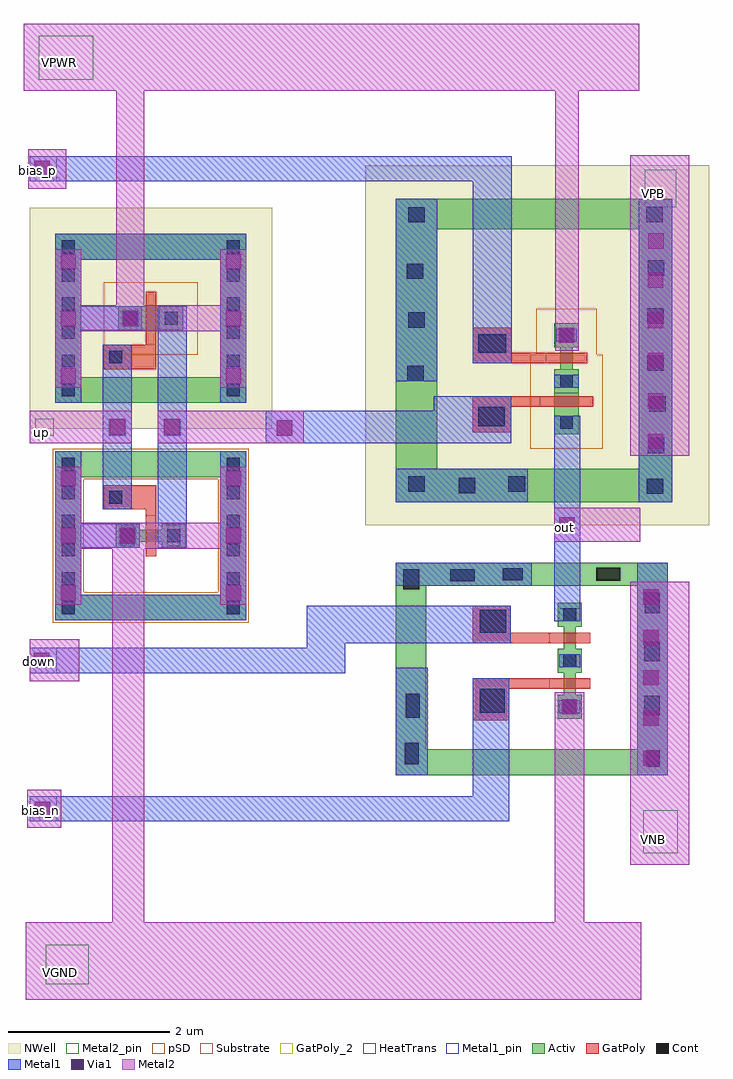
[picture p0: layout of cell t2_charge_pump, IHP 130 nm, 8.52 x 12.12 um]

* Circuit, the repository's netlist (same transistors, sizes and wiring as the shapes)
* Extracted by KLayout with SG13G2 LVS runset on : 13/06/2025 12:40

.SUBCKT t2_charge_pump
X$3 8 5 3 t2_inverter
M$1 5 1 10 5 sg13_lv_nmos L=0.13u W=0.15u AS=0.1005p AD=0.0555p PS=1.34u
+ PD=0.74u
M$2 10 2 7 5 sg13_lv_nmos L=0.13u W=0.15u AS=0.0555p AD=0.1005p PS=0.74u
+ PD=1.34u
M$3 7 3 9 6 sg13_lv_pmos L=0.13u W=0.3u AS=0.102p AD=0.05625p PS=1.28u PD=0.71u
M$4 9 4 8 6 sg13_lv_pmos L=0.13u W=0.15u AS=0.05625p AD=0.1005p PS=0.71u
+ PD=1.34u
.ENDS t2_charge_pump

.SUBCKT t2_inverter 1 2 4
M$1 1 3 4 1 sg13_lv_pmos L=0.13u W=0.3u AS=0.102p AD=0.102p PS=1.28u PD=1.28u
M$2 2 3 4 2 sg13_lv_nmos L=0.13u W=0.15u AS=0.1005p AD=0.1005p PS=1.34u PD=1.34u
.ENDS t2_inverter

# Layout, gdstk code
from math import pi, radians
import gdstk
lib = gdstk.Library(unit=1e-6, precision=1e-09)
def R(c, l, rs):  # rectangles x0, y0, x1, y1
    for r in rs: c.add(gdstk.rectangle(r[:2], r[2:], *l))
def A(c, l, x, y, w, h, nx, ny, dx, dy):  # array of equal rectangles
    R(c, l, [(x+i*dx, y+j*dy, x+i*dx+w, y+j*dy+h) for i in range(nx) for j in range(ny)])
Activ = (1, 0)
GatPoly = (5, 0)
GatPoly_2 = (5, 2)
Cont = (6, 0)
Metal1 = (8, 0)
Metal1_pin = (8, 2)
Metal2 = (10, 0)
Metal2_pin = (10, 2)
pSD = (14, 0)
Via1 = (19, 0)
NWell = (31, 0)
Substrate = (40, 0)
HeatTrans = (51, 0)

nmos = lib.new_cell('nmos')
R(nmos, Activ, [(0,0,0.3,0.3), (0.57,0,0.87,0.3), (0,0.075,0.87,0.225)])
R(nmos, GatPoly, [(0.37,-0.105,0.5,0.405)])
R(nmos, GatPoly_2, [(0.37,-0.105,0.5,0.405)])
R(nmos, Cont, [(0.07,0.07,0.23,0.23), (0.64,0.07,0.8,0.23)])
R(nmos, Metal1, [(0.07,0.02,0.23,0.28), (0.64,0.02,0.8,0.28)])
R(nmos, Metal1_pin, [(0.07,0.02,0.23,0.28), (0.64,0.02,0.8,0.28)])
R(nmos, HeatTrans, [(0.37,-0.105,0.5,0.405)])
nmos.add(gdstk.Label('nmos', (0.435,0.15), layer=63, texttype=0))
nmos.add(gdstk.Label('nmos', (0.435,0.15), layer=51, texttype=0))

pmos_1 = lib.new_cell('pmos$1')
R(pmos_1, Activ, [(0,0,0.3,0.3), (0,0,0.81,0.3), (0.51,0,0.81,0.3)])
R(pmos_1, GatPoly, [(0.34,-0.18,0.47,0.48), (0.34,-0.18,0.47,0.48)])
R(pmos_1, Cont, [(0.07,0.07,0.23,0.23), (0.58,0.07,0.74,0.23)])
R(pmos_1, Metal1, [(0.07,0,0.23,0.3), (0.07,0,0.23,0.3), (0.58,0,0.74,0.3), (0.58,0,0.74,0.3)])
R(pmos_1, pSD, [(-0.18,-0.3,0.99,0.6)])
R(pmos_1, NWell, [(-0.31,-0.31,1.12,0.61)])
R(pmos_1, Substrate, [(0.51,0,0.81,0.3)])
R(pmos_1, HeatTrans, [(0.34,-0.18,0.47,0.48)])
pmos_1.add(gdstk.Label('pmos', (0.405,0.15), layer=63, texttype=0))
pmos_1.add(gdstk.Label('pmos', (0.405,0.15), layer=51, texttype=0))

t2_inverter = lib.new_cell('t2_inverter')
R(t2_inverter, Activ, [(-1.425,-3.22,0.625,-2.9), (0.625,-3.22,0.945,-1.44), (-1.425,-2.9,-1.105,-1.12), (-1.105,-1.44,0.945,-1.12), (-1.425,-0.52,0.625,-0.2), (0.625,-0.52,0.945,1.26), (-1.425,-0.2,-1.105,1.58), (-1.105,1.26,0.945,1.58)])
R(t2_inverter, GatPoly, [(-0.305,-1.915,-0.175,-1.84), (-0.825,-1.84,-0.175,-1.54), (-0.825,-0.1,-0.175,0.2)])
A(t2_inverter, Cont, -1.345, -2.78, 0.16, 0.16, 1, 5, 0, 0.355)
A(t2_inverter, Cont, 0.705, -2.78, 0.16, 0.16, 1, 5, 0, 0.355)
A(t2_inverter, Cont, -1.345, -0.08, 0.16, 0.16, 1, 5, 0, 0.355)
A(t2_inverter, Cont, 0.705, -0.08, 0.16, 0.16, 1, 5, 0, 0.355)
R(t2_inverter, Cont, [(-1.345,-3.14,-1.185,-2.98), (0.705,-3.14,0.865,-2.98), (-0.755,-1.77,-0.595,-1.61), (-1.345,-0.44,-1.185,-0.28), (0.705,-0.44,0.865,-0.28), (-0.755,-0.03,-0.595,0.13)])
R(t2_inverter, Metal1, [(-1.425,-3.22,-1.105,-1.12), (-1.105,-3.22,0.625,-2.9), (0.625,-3.22,0.945,-1.12), (-1.105,-2.32,-0.38,-2.02), (-0.155,-2.32,0.205,0.68), (-0.835,-1.84,-0.475,0.2), (-1.425,-0.52,-1.105,1.58), (0.625,-0.52,0.945,1.58), (-1.105,0.38,-0.35,0.68), (-1.105,1.26,0.625,1.58)])
R(t2_inverter, Metal2, [(-1.425,-3.025,-1.105,-1.31), (0.625,-3.025,0.945,-1.31), (-1.105,-2.33,0.625,-2.01), (-1.745,-1.02,-0.475,-0.62), (-0.155,-1.02,1.66,-0.62), (-1.425,-0.33,-1.105,1.385), (0.625,-0.33,0.945,1.385), (-1.105,0.37,0.625,0.69)])
R(t2_inverter, Metal2_pin, [(-0.63,-2.275,-0.42,-2.065), (-0.76,-0.925,-0.55,-0.715), (-0.08,-0.925,0.13,-0.715), (-0.6,0.425,-0.39,0.635)])
R(t2_inverter, pSD, [(-1.455,-3.25,0.595,-2.87), (0.595,-3.25,0.975,-1.47), (-1.455,-2.87,-1.075,-1.09), (-1.075,-1.47,0.975,-1.09)])
R(t2_inverter, Via1, [(-1.36,-2.975,-1.17,-2.785), (0.69,-2.975,0.88,-2.785), (-0.62,-2.265,-0.43,-2.075), (-1.36,-2.26,-1.17,-2.07), (0.69,-2.26,0.88,-2.07), (-1.36,-1.55,-1.17,-1.36), (0.69,-1.55,0.88,-1.36), (-0.75,-0.915,-0.56,-0.725), (-0.07,-0.915,0.12,-0.725), (-1.36,-0.28,-1.17,-0.09), (0.69,-0.28,0.88,-0.09), (-1.36,0.435,-1.17,0.625), (-0.59,0.435,-0.4,0.625), (0.69,0.435,0.88,0.625), (-1.36,1.145,-1.17,1.335), (0.69,1.145,0.88,1.335)])
R(t2_inverter, NWell, [(-1.745,-0.84,1.265,1.9)])
t2_inverter.add(gdstk.Reference(nmos, (-0.675,-2.32)))
t2_inverter.add(gdstk.Reference(pmos_1, (-0.645,0.38)))
t2_inverter.add(gdstk.Label('Y', (0.025,-0.82), layer=10, texttype=2))
t2_inverter.add(gdstk.Label('A', (-0.655,-0.82), layer=10, texttype=2))
t2_inverter.add(gdstk.Label('VN', (-0.525,-2.17), layer=10, texttype=2))
t2_inverter.add(gdstk.Label('VP', (-0.495,0.53), layer=10, texttype=2))

nmos_3 = lib.new_cell('nmos$3')
R(nmos_3, Activ, [(0,0,0.3,0.3), (0.57,0,0.87,0.3), (0,0.075,0.87,0.225)])
R(nmos_3, GatPoly, [(0.37,-0.105,0.5,0.405)])
R(nmos_3, GatPoly_2, [(0.37,-0.105,0.5,0.405)])
R(nmos_3, Cont, [(0.07,0.07,0.23,0.23), (0.64,0.07,0.8,0.23)])
R(nmos_3, Metal1, [(0.07,0.02,0.23,0.28), (0.64,0.02,0.8,0.28)])
R(nmos_3, Metal1_pin, [(0.07,0.02,0.23,0.28), (0.64,0.02,0.8,0.28)])
R(nmos_3, HeatTrans, [(0.37,-0.105,0.5,0.405)])
nmos_3.add(gdstk.Label('nmos', (0.435,0.15), layer=63, texttype=0))
nmos_3.add(gdstk.Label('nmos', (0.435,0.15), layer=51, texttype=0))

pmos_2 = lib.new_cell('pmos$2')
R(pmos_2, Activ, [(0,0,0.3,0.3), (0,0,0.81,0.3), (0.51,0,0.81,0.3)])
R(pmos_2, GatPoly, [(0.34,-0.18,0.47,0.48), (0.34,-0.18,0.47,0.48)])
R(pmos_2, Cont, [(0.07,0.07,0.23,0.23), (0.58,0.07,0.74,0.23)])
R(pmos_2, Metal1, [(0.07,0,0.23,0.3), (0.07,0,0.23,0.3), (0.58,0,0.74,0.3), (0.58,0,0.74,0.3)])
R(pmos_2, pSD, [(-0.18,-0.3,0.99,0.6)])
R(pmos_2, NWell, [(-0.31,-0.31,1.12,0.61)])
R(pmos_2, Substrate, [(0.51,0,0.81,0.3)])
R(pmos_2, HeatTrans, [(0.34,-0.18,0.47,0.48)])
pmos_2.add(gdstk.Label('pmos', (0.405,0.15), layer=63, texttype=0))
pmos_2.add(gdstk.Label('pmos', (0.405,0.15), layer=51, texttype=0))

pmos = lib.new_cell('pmos')
R(pmos, Activ, [(0,0,0.3,0.3), (0.57,0,0.87,0.3), (0,0.075,0.87,0.225)])
R(pmos, GatPoly, [(0.37,-0.105,0.5,0.405), (0.37,-0.105,0.5,0.405)])
R(pmos, Cont, [(0.07,0.07,0.23,0.23), (0.64,0.07,0.8,0.23)])
R(pmos, Metal1, [(0.07,0.02,0.23,0.28), (0.07,0.02,0.23,0.28), (0.64,0.02,0.8,0.28), (0.64,0.02,0.8,0.28)])
R(pmos, pSD, [(-0.18,-0.225,1.05,0.525)])
R(pmos, NWell, [(-0.31,-0.31,1.18,0.61)])
R(pmos, Substrate, [(0.57,0,0.87,0.3)])
R(pmos, HeatTrans, [(0.37,-0.105,0.5,0.405)])
pmos.add(gdstk.Label('pmos', (0.435,0.15), layer=63, texttype=0))
pmos.add(gdstk.Label('pmos', (0.435,0.15), layer=51, texttype=0))

t2_charge_pump = lib.new_cell('t2_charge_pump')
R(t2_charge_pump, Activ, [(3.64,-2.115,4.02,0.52), (4.02,-2.115,6.64,-1.795), (6.64,-2.115,7.015,0.52), (4.02,0.235,6.64,0.52), (3.64,1.275,7.075,1.69), (3.64,1.69,4.155,5.04), (6.66,1.69,7.075,4.66), (4.155,4.66,7.075,5.04)])
R(t2_charge_pump, GatPoly, [(4.595,-1.435,5.05,-1.045), (4.595,-1.045,5.545,-0.915), (4.595,-0.475,5.55,-0.345), (4.595,-0.345,5.065,-0.01), (4.595,2.14,5.075,2.455), (4.595,2.455,5.43,2.585), (4.595,2.995,5.505,3.125), (4.595,3.125,5.08,3.44)])
R(t2_charge_pump, Cont, [(6.75,-2.01,6.92,-1.805), (3.75,-1.98,3.925,-1.71), (3.765,-1.405,3.94,-1.105), (6.725,-1.37,6.92,-1.13), (4.685,-1.34,4.995,-1.045), (6.725,-0.7,6.92,-0.46), (4.685,-0.345,5.015,-0.065), (6.73,-0.105,6.915,0.155), (3.735,0.195,3.935,0.44), (4.315,0.29,4.62,0.44), (6.13,0.295,6.425,0.46), (4.97,0.305,5.22,0.455), (6.755,1.375,6.96,1.565), (4.425,1.385,4.63,1.575), (3.795,1.405,4,1.595), (5.04,1.405,5.245,1.595), (6.77,1.88,6.975,2.07), (4.665,2.215,4.995,2.455), (6.79,2.395,6.995,2.585), (3.785,2.775,3.99,2.965), (6.76,2.905,6.965,3.095), (4.665,3.125,5.015,3.355), (3.795,3.44,4,3.63), (6.765,3.49,6.97,3.68), (3.775,4.045,3.98,4.235), (6.77,4.085,6.975,4.275), (3.795,4.745,4,4.935), (6.75,4.75,6.955,4.94)])
R(t2_charge_pump, Metal1, [(-0.905,-2.69,5.05,-2.375), (4.595,-2.375,5.05,-0.915), (3.64,-2.115,4.04,-0.78), (6.64,-2.115,7.015,0.52), (-0.905,-0.85,3.015,-0.535), (2.535,-0.535,3.015,-0.01), (3.015,-0.475,5.065,-0.01), (5.61,-0.205,5.93,2.345), (3.64,0.235,5.33,0.52), (3.64,1.275,5.28,1.69), (6.66,1.275,7.075,5.035), (2.03,2.005,4.11,2.405), (4.11,2.005,5.075,2.585), (3.64,2.775,4.155,5.04), (4.595,2.995,5.08,5.255), (-0.905,5.255,5.08,5.57)])
R(t2_charge_pump, Metal2, [(-0.955,-4.9,6.69,-3.94), (0.12,-3.94,0.52,0.695), (5.615,-3.94,5.98,-1.085), (6.55,-3.23,7.285,0.285), (-0.935,-2.765,-0.51,-2.295), (-0.905,-0.95,-0.29,-0.43), (5.61,0.785,6.675,1.205), (6.55,1.85,7.285,5.58), (5.62,3.15,5.91,6.38), (0.17,3.715,0.52,6.38), (-0.92,5.165,-0.45,5.655), (-0.98,6.38,6.665,7.215)])
R(t2_charge_pump, Metal2_pin, [(-0.705,-4.71,-0.17,-4.22), (6.71,-3.085,7.14,-2.55), (-0.905,-2.69,-0.57,-2.375), (-0.905,-0.85,-0.565,-0.535), (-0.835,2.1,-0.605,2.31), (6.73,4.935,7.125,5.4), (-0.905,5.255,-0.57,5.57), (-0.79,6.515,-0.115,7.06)])
R(t2_charge_pump, pSD, [(3.64,-2.115,4.02,0.52), (4.02,-2.115,6.64,-1.795), (6.64,-2.115,7.015,0.52), (4.02,0.235,6.64,0.52)])
A(t2_charge_pump, Via1, 6.715, -2, 0.19, 0.19, 1, 5, 0, 0.5)
A(t2_charge_pump, Via1, 6.77, 1.935, 0.19, 0.19, 1, 5, 0, 0.5)
R(t2_charge_pump, Via1, [(-0.84,-2.635,-0.65,-2.445), (5.7,-1.36,5.89,-1.17), (-0.85,-0.785,-0.66,-0.595), (5.67,0.895,5.86,1.085), (2.165,2.1,2.355,2.29), (5.665,3.25,5.855,3.44), (6.775,4.42,6.965,4.61), (-0.845,5.32,-0.655,5.51)])
R(t2_charge_pump, NWell, [(3.265,0.985,7.535,5.455)])
t2_charge_pump.add(gdstk.Reference(t2_inverter, (0.84,3.025)))
t2_charge_pump.add(gdstk.Reference(nmos_3, (5.95,-1.415), rotation=pi/2))
t2_charge_pump.add(gdstk.Reference(nmos_3, (5.95,-0.845), rotation=pi/2))
t2_charge_pump.add(gdstk.Reference(pmos_2, (5.91,2.115), rotation=pi/2))
t2_charge_pump.add(gdstk.Reference(pmos, (5.91,2.625), rotation=pi/2))
t2_charge_pump.add(gdstk.Label('bias_n', (-0.775,-2.56), layer=10, texttype=2))
t2_charge_pump.add(gdstk.Label('down', (-0.785,-0.71), layer=10, texttype=2))
t2_charge_pump.add(gdstk.Label('bias_p', (-0.805,5.385), layer=10, texttype=2))
t2_charge_pump.add(gdstk.Label('VPWR', (-0.53,6.73), layer=10, texttype=2))
t2_charge_pump.add(gdstk.Label('VGND', (-0.515,-4.57), layer=10, texttype=2))
t2_charge_pump.add(gdstk.Label('up', (-0.76,2.135), layer=10, texttype=2))
t2_charge_pump.add(gdstk.Label('out', (5.74,0.965), layer=10, texttype=2))
t2_charge_pump.add(gdstk.Label('VNB', (6.845,-2.915), layer=10, texttype=2))
t2_charge_pump.add(gdstk.Label('VPB', (6.835,5.11), layer=10, texttype=2))

lib.write_gds('t2_charge_pump.gds')
